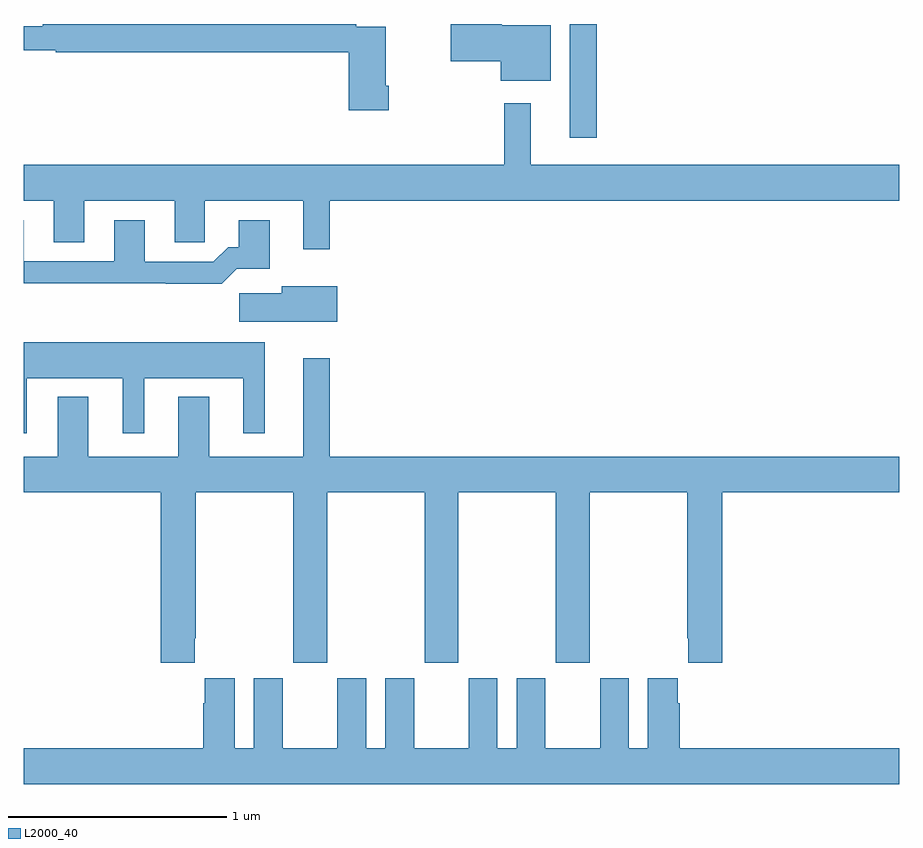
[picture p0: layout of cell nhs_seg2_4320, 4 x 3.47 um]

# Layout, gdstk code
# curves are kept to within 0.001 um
import gdstk
lib = gdstk.Library(unit=1e-6, precision=1e-09)
def R(c, l, rs):  # rectangles x0, y0, x1, y1
    for r in rs: c.add(gdstk.rectangle(r[:2], r[2:], *l))
def P(c, l, *ps):  # polygons
    for p in ps: c.add(gdstk.Polygon(p, *l))
L2000_40 = (2000, 40)

nhs_seg2_4320 = lib.new_cell('nhs_seg2_4320')
R(nhs_seg2_4320, L2000_40, [(347.495,625.281,347.617,625.8)])
P(nhs_seg2_4320, L2000_40, [(346.667,625.519),(346.654,625.519),(346.654,625.788),(346.52,625.788),(346.52,625.8),(345.088,625.8),(345.088,625.789),(345,625.789),(345,625.68),(345.147,625.68),(345.147,625.672),(346.484,625.672),(346.484,625.407),(346.667,625.407)],
  [(347.407,625.795),(347.184,625.795),(347.184,625.8),(346.95,625.8),(346.95,625.63),(347.18,625.63),(347.18,625.541),(347.407,625.541)],
  [(346.399,624.992),(349,624.992),(349,625.156),(347.317,625.156),(347.317,625.438),(347.196,625.438),(347.196,625.156),(345,625.156),(345,624.992),(345.137,624.992),(345.137,624.802),(345.277,624.802),(345.277,624.992),(345.689,624.992),(345.689,624.802),(345.828,624.802),(345.828,624.992),(346.277,624.992),(346.277,624.771),(346.399,624.771)],
  [(345.974,624.683),(346.123,624.683),(346.123,624.904),(345.983,624.904),(345.983,624.781),(345.934,624.781),(345.867,624.714),(345.553,624.714),(345.553,624.904),(345.413,624.904),(345.413,624.717),(345.001,624.717),(345,624.904),(345,624.616),(345.649,624.616),(345.649,624.614),(345.905,624.614)],
  [(346.432,624.601),(346.178,624.601),(346.178,624.569),(345.984,624.569),(345.984,624.44),(346.432,624.44)],
  [(345.013,624.182),(345.452,624.182),(345.452,623.931),(345.55,623.931),(345.55,624.182),(346.004,624.182),(346.004,623.931),(346.102,623.931),(346.102,624.346),(345,624.346),(345,623.931),(345.013,623.931)],
  [(345.781,622.993),(345.786,622.993),(345.786,623.66),(346.231,623.66),(346.231,622.881),(346.386,622.881),(346.386,623.66),(346.831,623.66),(346.831,622.881),(346.986,622.881),(346.986,623.66),(347.431,623.66),(347.431,622.881),(347.586,622.881),(347.586,623.66),(348.031,623.66),(348.031,622.993),(348.035,622.993),(348.035,622.881),(348.191,622.881),(348.191,623.66),(349,623.66),(349,623.824),(346.399,623.824),(346.399,624.274),(346.277,624.274),(346.277,623.824),(345.847,623.824),(345.847,624.097),(345.707,624.097),(345.707,623.824),(345.295,623.824),(345.295,624.097),(345.155,624.097),(345.155,623.824),(345,623.824),(345,623.66),(345.626,623.66),(345.626,622.881),(345.781,622.881)],
  [(349,622.492),(347.996,622.492),(347.996,622.697),(347.989,622.697),(347.989,622.81),(347.852,622.81),(347.852,622.492),(347.764,622.492),(347.764,622.81),(347.633,622.81),(347.633,622.492),(347.383,622.492),(347.383,622.81),(347.252,622.81),(347.252,622.492),(347.164,622.492),(347.164,622.81),(347.033,622.81),(347.033,622.492),(346.783,622.492),(346.783,622.81),(346.652,622.81),(346.652,622.492),(346.564,622.492),(346.564,622.81),(346.433,622.81),(346.433,622.492),(346.183,622.492),(346.183,622.81),(346.052,622.81),(346.052,622.492),(345.964,622.492),(345.964,622.81),(345.827,622.81),(345.827,622.697),(345.821,622.697),(345.821,622.492),(345,622.492),(345,622.328),(349,622.328)])

lib.write_gds('nhs_seg2_4320.gds')
